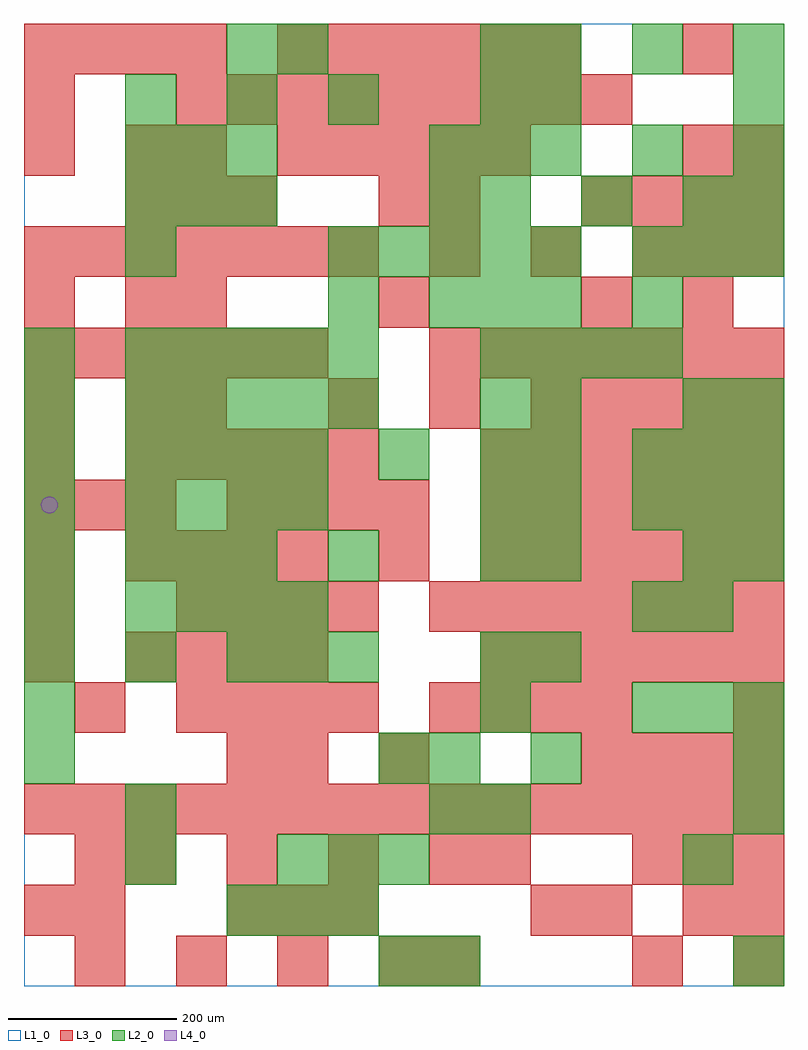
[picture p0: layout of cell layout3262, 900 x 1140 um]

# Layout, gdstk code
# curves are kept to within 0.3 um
import gdstk
lib = gdstk.Library(unit=1e-6, precision=1e-09)
def R(c, l, rs):  # rectangles x0, y0, x1, y1
    for r in rs: c.add(gdstk.rectangle(r[:2], r[2:], *l))
def A(c, l, x, y, w, h, nx, ny, dx, dy):  # array of equal rectangles
    R(c, l, [(x+i*dx, y+j*dy, x+i*dx+w, y+j*dy+h) for i in range(nx) for j in range(ny)])
def P(c, l, *ps):  # polygons
    for p in ps: c.add(gdstk.Polygon(p, *l))
L1_0 = (1, 0)
L2_0 = (2, 0)
L3_0 = (3, 0)
L4_0 = (4, 0)

layout3262 = lib.new_cell('layout3262')
R(layout3262, L1_0, [(0,0,900,1140)])
A(layout3262, L2_0, 240, 60, 60, 60, 3, 1, 60, 0)
A(layout3262, L2_0, 300, 120, 60, 60, 3, 1, 60, 0)
A(layout3262, L2_0, 600, 240, 60, 60, 1, 3, 0, 120)
A(layout3262, L2_0, 720, 300, 60, 60, 3, 2, 60, 240)
A(layout3262, L2_0, 0, 360, 60, 60, 3, 1, 120, 0)
A(layout3262, L2_0, 0, 420, 60, 60, 1, 6, 0, 60)
A(layout3262, L2_0, 120, 420, 60, 60, 4, 2, 60, 120)
A(layout3262, L2_0, 120, 480, 60, 60, 3, 2, 60, 420)
A(layout3262, L2_0, 540, 480, 60, 60, 1, 4, 0, 60)
A(layout3262, L2_0, 600, 540, 60, 60, 1, 3, 0, 60)
A(layout3262, L2_0, 120, 600, 60, 60, 4, 1, 60, 0)
A(layout3262, L2_0, 720, 600, 60, 60, 3, 2, 60, 240)
A(layout3262, L2_0, 120, 660, 60, 60, 5, 2, 60, 60)
A(layout3262, L2_0, 540, 720, 60, 60, 4, 1, 60, 0)
A(layout3262, L2_0, 480, 780, 60, 60, 3, 2, 60, 180)
A(layout3262, L2_0, 360, 840, 60, 60, 5, 1, 60, 0)
A(layout3262, L2_0, 540, 900, 60, 60, 3, 1, 120, 0)
A(layout3262, L2_0, 840, 900, 60, 60, 1, 3, 0, 60)
A(layout3262, L2_0, 120, 960, 60, 60, 3, 1, 60, 0)
A(layout3262, L2_0, 120, 1020, 60, 60, 3, 1, 120, 0)
A(layout3262, L2_0, 600, 1080, 60, 60, 3, 1, 120, 0)
R(layout3262, L2_0, [(420,0,480,60), (480,0,540,60), (840,0,900,60), (120,120,180,180), (780,120,840,180), (120,180,180,240), (480,180,540,240), (540,180,600,240), (840,180,900,240), (0,240,60,300), (420,240,480,300), (480,240,540,300), (840,240,900,300), (0,300,60,360), (540,300,600,360), (300,360,360,420), (360,360,420,420), (540,360,600,420), (720,420,780,480), (780,420,840,480), (360,480,420,540), (780,480,840,540), (840,480,900,540), (420,600,480,660), (780,660,840,720), (840,660,900,720), (360,780,420,840), (720,780,780,840), (120,840,180,900), (480,900,540,960), (720,960,780,1020), (540,1020,600,1080), (600,1020,660,1080), (240,1080,300,1140), (300,1080,360,1140), (540,1080,600,1140)])
A(layout3262, L3_0, 60, 0, 60, 60, 4, 1, 120, 0)
A(layout3262, L3_0, 240, 60, 60, 60, 3, 1, 60, 0)
A(layout3262, L3_0, 120, 120, 60, 60, 4, 1, 120, 0)
A(layout3262, L3_0, 720, 120, 60, 60, 3, 1, 60, 0)
A(layout3262, L3_0, 0, 180, 60, 60, 15, 1, 60, 0)
A(layout3262, L3_0, 660, 240, 60, 60, 4, 2, 60, 420)
A(layout3262, L3_0, 180, 300, 60, 60, 4, 2, 60, 120)
A(layout3262, L3_0, 480, 300, 60, 60, 4, 1, 60, 0)
A(layout3262, L3_0, 0, 360, 60, 60, 1, 3, 0, 60)
A(layout3262, L3_0, 120, 360, 60, 60, 4, 2, 60, 120)
A(layout3262, L3_0, 540, 360, 60, 60, 6, 2, 60, 120)
A(layout3262, L3_0, 480, 420, 60, 60, 7, 2, 60, 300)
A(layout3262, L3_0, 0, 540, 60, 60, 3, 1, 60, 0)
A(layout3262, L3_0, 240, 540, 60, 60, 4, 1, 60, 0)
A(layout3262, L3_0, 540, 540, 60, 60, 6, 2, 60, 60)
A(layout3262, L3_0, 120, 600, 60, 60, 5, 1, 60, 0)
A(layout3262, L3_0, 360, 660, 60, 60, 3, 1, 120, 0)
A(layout3262, L3_0, 0, 720, 60, 60, 6, 1, 60, 0)
A(layout3262, L3_0, 180, 780, 60, 60, 3, 1, 240, 0)
A(layout3262, L3_0, 0, 840, 60, 60, 7, 1, 60, 0)
A(layout3262, L3_0, 480, 840, 60, 60, 3, 1, 120, 0)
A(layout3262, L3_0, 780, 840, 60, 60, 1, 3, 0, 120)
A(layout3262, L3_0, 120, 900, 60, 60, 3, 1, 60, 0)
A(layout3262, L3_0, 660, 900, 60, 60, 4, 1, 60, 0)
A(layout3262, L3_0, 300, 960, 60, 60, 5, 1, 60, 0)
A(layout3262, L3_0, 180, 1020, 60, 60, 9, 1, 60, 0)
A(layout3262, L3_0, 0, 1080, 60, 60, 4, 1, 60, 0)
A(layout3262, L3_0, 300, 1080, 60, 60, 6, 1, 60, 0)
R(layout3262, L3_0, [(480,0,540,60), (720,0,780,60), (840,0,900,60), (0,60,60,120), (60,60,120,120), (600,60,660,120), (660,60,720,120), (780,60,840,120), (840,60,900,120), (60,120,120,180), (540,120,600,180), (240,240,300,300), (300,240,360,300), (420,240,480,300), (60,300,120,360), (840,300,900,360), (420,480,480,540), (0,600,60,660), (0,660,60,720), (120,660,180,720), (180,660,240,720), (0,780,60,840), (120,780,180,840), (780,780,840,840), (840,840,900,900), (420,900,480,960), (480,900,540,960), (0,960,60,1020), (120,960,180,1020), (180,960,240,1020), (840,960,900,1020), (0,1020,60,1080)])
P(layout3262, L4_0, [(40,570),(39.239,573.827),(37.071,577.071),(33.827,579.239),(30,580),(26.173,579.239),(22.929,577.071),(20.761,573.827),(20,570),(20.761,566.173),(22.929,562.929),(26.173,560.761),(30,560),(33.827,560.761),(37.071,562.929),(39.239,566.173)])

lib.write_gds('layout3262.gds')
